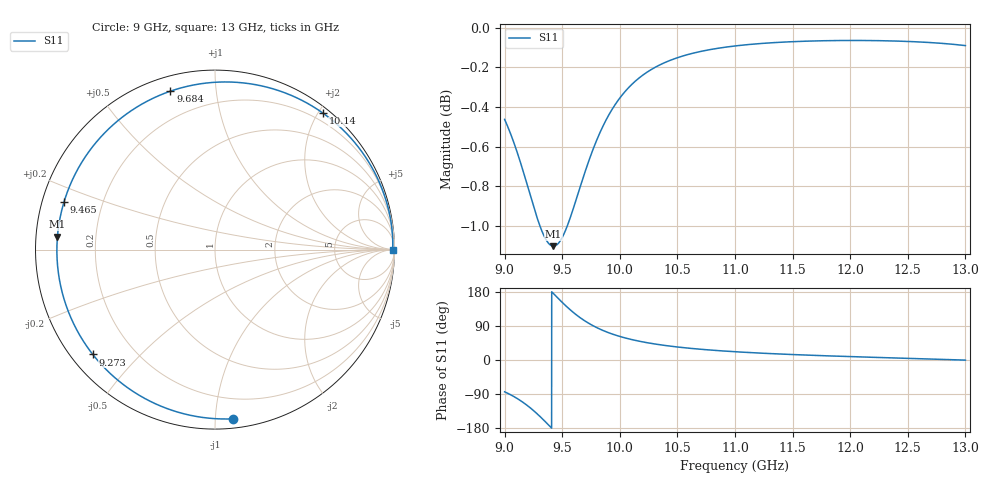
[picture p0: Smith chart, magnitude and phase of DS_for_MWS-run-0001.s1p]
! TOUCHSTONE file generated by CST DESIGN STUDIO
! Date and time: Wed Feb  5 13:43:13 2025
! Project name: C:\Work\MatlabApps\UnitCellOptimizationMatlab\CST\unitcell.cst
! Tree item: Tasks\Sweep1\SPara1\S-Parameters
! Header version: 2024
! Port assignment regex: !\s*Touchstone port\s*([0-9]+)\s*=\s*(CST MWS port|CST DES external port|CST DES block port)\s*(.+)\s* \(\"(.*)\"\)(\s*mode\s*([0-9]+))?.*
! Touchstone port assignment:
! Touchstone port 1 = CST DES external port 1 ("")
# GHz S MA R 50
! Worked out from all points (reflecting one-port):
!   4001 points, 9 GHz to 13 GHz, reference 50 ohm
!   lowest |S11| = -1.1 dB at 9.424 GHz (marker M1), VSWR 15.78, Z = 3.17 + j2.05 ohm
!   phase of S11 starts at -84 deg and turns -276 deg over the sweep
!   S11 on the Smith chart (normalised r, x): 9 GHz: 0.06, -1.11; 9.273 GHz: 0.06, -0.37; 9.465 GHz: 0.06, +0.15; 9.684 GHz: 0.07, +0.76; 10.14 GHz: 0.08, +2.07; 13 GHz: open
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9  0.9481 -83.9
9.081  0.9353 -96.5
9.15  0.9222 -109.7
9.213  0.9092 -123.9
9.273  0.8971 -139.4
9.315  0.8899 -151.3
9.353  0.8848 -162.7
9.389  0.8818 -173.8
9.424  0.8808 175.3
9.465  0.8821 162.6
9.5  0.8852 152.0
9.546  0.8915 138.8
9.591  0.8993 126.9
9.636  0.9078 116.1
9.684  0.917 105.7
9.755  0.9297 92.6
9.839  0.9424 79.9
9.917  0.952 70.4
10  0.96 62.2
10.137  0.9696 51.6
10.301  0.9771 42.4
10.5  0.9827 34.3
10.723  0.9866 27.8
11  0.9895 21.8
11.5  0.9919 14.4
12  0.9926 9.0
12.5  0.9921 4.4
13  0.9897 -0.3
